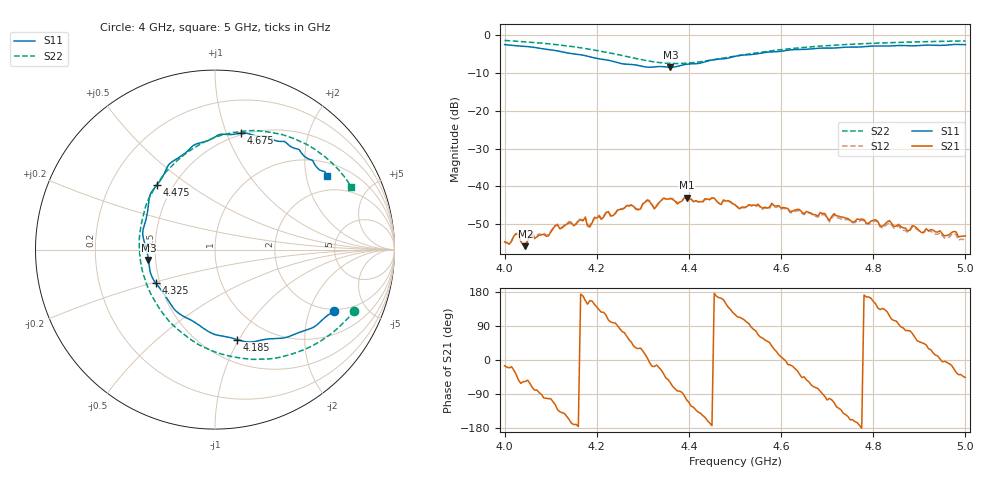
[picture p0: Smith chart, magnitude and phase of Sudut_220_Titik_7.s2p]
# Hz S RI R 50
! CMT, C1220, 16058040, 17.2.0/1
! Date: 15/08/2018 12:04:02
! Data: Format (Calibration Info)
! Freq  S11: Re/Im (F2)  S21: Re/Im (F2)  S12: Re/Im (F2)  S22: Re/Im (F2)
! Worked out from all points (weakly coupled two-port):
!   201 points, 4 GHz to 5 GHz, reference 50 ohm
!   highest |S21| = -42.99 dB at 4.395 GHz (marker M1); lowest = -55.8 dB at 4.045 GHz (marker M2)
!   lowest |S11| = -8.5 dB at 4.36 GHz (marker M3), VSWR 2.20, Z = 22.8 - j3.1 ohm
!   |S11| at or under -10 dB: nowhere
!   |S22| runs from -7.5 to -1.4 dB; largest |S21 - S12| = 0.00029
!   S11 on the Smith chart (normalised r, x): 4 GHz: 1.93, -2.99; 4.185 GHz: 0.72, -0.98; 4.325 GHz: 0.47, -0.21; 4.475 GHz: 0.41, +0.38; 4.675 GHz: 0.48, +1.12; 5 GHz: 1.42, +2.63
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4e9  0.6651 -0.3408  0.00178 -0.000481  0.00184 -0.000423  0.7766 -0.34
4.03e9  0.604 -0.386  0.00143 -0.00187  0.00148 -0.00183  0.7191 -0.4037
4.045e9  0.5701 -0.4177  0.000889 -0.00135  0.00103 -0.00137  0.6864 -0.4361
4.06e9  0.5353 -0.4389  0.00068 -0.00213  0.000769 -0.00233  0.6512 -0.466
4.17e9  0.1726 -0.5139  -0.00344 0.000665  -0.00353 0.000654  0.2806 -0.6093
4.185e9  0.124 -0.5016  -0.00267 0.00114  -0.0028 0.00117  0.2169 -0.6118
4.195e9  0.0867 -0.4904  -0.0032 0.00209  -0.00329 0.00212  0.1727 -0.608
4.265e9  -0.1659 -0.3771  0.00254 0.00497  0.0025 0.00503  -0.132 -0.5032
4.29e9  -0.2392 -0.3156  0.00424 0.00246  0.00439 0.00243  -0.23 -0.4243
4.31e9  -0.288 -0.2419  0.00651 0.000534  0.00665 0.000519  -0.2955 -0.3485
4.325e9  -0.3307 -0.1859  0.00481 -0.00149  0.00492 -0.00157  -0.336 -0.2851
4.335e9  -0.3509 -0.1524  0.00568 -0.0021  0.00565 -0.00219  -0.3609 -0.2402
4.36e9  -0.3706 -0.0584  0.00339 -0.00599  0.00333 -0.00612  -0.4045 -0.1187
4.395e9  -0.4025 0.0839  -0.00184 -0.00684  -0.00204 -0.00681  -0.4219 0.0537
4.475e9  -0.3229 0.3608  -0.00617 0.00239  -0.00605 0.00252  -0.3049 0.3909
4.5e9  -0.2716 0.4468  -0.00287 0.00493  -0.00285 0.0049  -0.2407 0.4667
4.67e9  0.1331 0.6472  0.00143 -0.00397  0.00132 -0.00386  0.2386 0.6617
4.675e9  0.1432 0.6495  0.00124 -0.00403  0.00115 -0.00384  0.2513 0.6608
4.82e9  0.4083 0.584  -0.00213 0.00205  -0.00195 0.00202  0.5483 0.5635
4.835e9  0.4365 0.5667  -0.00161 0.00314  -0.0015 0.00292  0.5724 0.5472
4.875e9  0.4806 0.5398  0.000558 0.00249  0.000492 0.0024  0.6285 0.5032
5e9  0.6217 0.4123  0.00153 -0.0016  0.00146 -0.00143  0.7588 0.3501
